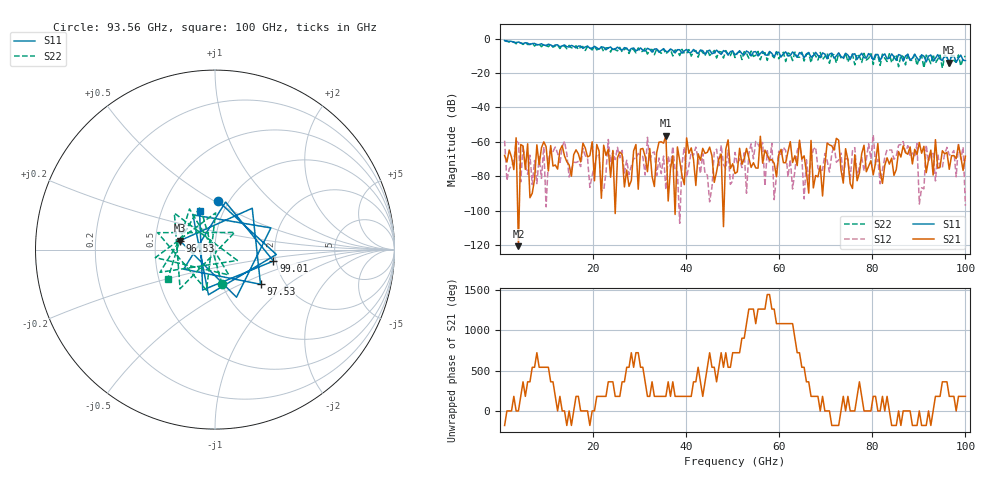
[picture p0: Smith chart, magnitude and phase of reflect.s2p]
!Created with skrf (http://scikit-rf.org).
# GHz S RI R 50.0
!freq ReS11 ImS11 ReS21 ImS21 ReS12 ImS12 ReS22 ImS22
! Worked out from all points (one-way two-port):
!   201 points, 1 GHz to 100 GHz, reference 50 ohm
!   highest |S21| = -56.32 dB at 35.65 GHz (marker M1); lowest = -120.6 dB at 3.97 GHz (marker M2)
!   lowest |S11| = -13.9 dB at 96.53 GHz (marker M3), VSWR 1.51, Z = 33.5 + j3.46 ohm
!   |S11| at or under -10 dB: 71.55 GHz to 72.28 GHz (728 MHz wide, 1.01 % of centre); 90.97 GHz to 92.21 GHz (1.24 GHz wide, 1.35 % of centre); 95.74 GHz to 97.38 GHz (1.639 GHz wide, 1.7 % of centre) (the widest 3 of 28)
!   |S22| runs from -17.2 to -1.2 dB; largest |S21 - S12| = 0.0024
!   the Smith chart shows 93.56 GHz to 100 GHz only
!   S11 on the Smith chart (normalised r, x): 93.56 GHz: 0.89, +0.52; 96.53 GHz: 0.67, +0.07; 97.53 GHz: 1.51, -0.65; 99.01 GHz: 1.94, -0.28; 100 GHz: 0.77, +0.35
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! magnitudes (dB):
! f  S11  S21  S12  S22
! 1 GHz  -1.1  -67.9  -59.3  -1.4
! 1.495 GHz  -1.6  -71.7  -82.4  -1.2
! 3.475 GHz  -2.3  -57.6  -59.3  -3.0
! 3.97 GHz  -2.0  -120.6  -60.5  -2.2
! 17.83 GHz  -5.7  -60.8  -63.9  -4.6
! 34.16 GHz  -7.8  -60.2  -69.4  -7.4
! 35.65 GHz  -7.4  -56.3  -87.8  -8.9
! 36.15 GHz  -7.6  -94.4  -68.2  -7.4
! 40.1 GHz  -6.3  -57.7  -80.7  -8.6
! 50.5 GHz  -9.4  -78.4  -66.2  -11.0
! 55.95 GHz  -8.6  -56.8  -63.8  -12.3
! 66.83 GHz  -10.7  -59.2  -71.4  -14.0
! 67.33 GHz  -10.0  -86.8  -64.4  -8.3
! 72.28 GHz  -10.0  -58.0  -71.8  -14.1
! 73.77 GHz  -11.2  -84.0  -81.4  -12.0
! 83.67 GHz  -11.4  -72.9  -64.7  -8.8
! 93.07 GHz  -13.1  -79.3  -66.6  -9.2
! 93.56 GHz  -11.4  -58.7  -82.7  -14.2
! 96.53 GHz  -13.9  -75.9  -67.7  -16.7
! 97.53 GHz  -9.9  -68.0  -65.0  -12.7
! 99.01 GHz  -9.6  -68.7  -70.0  -15.9
! 100 GHz  -12.8  -68.4  -97.1  -10.1
